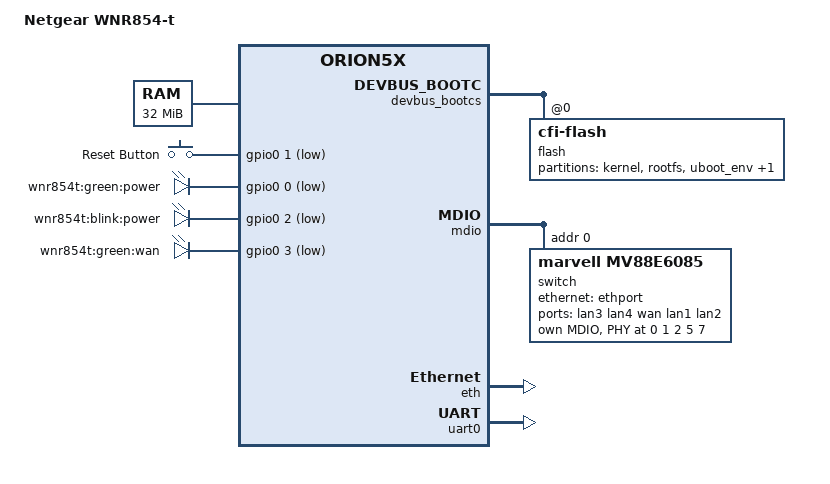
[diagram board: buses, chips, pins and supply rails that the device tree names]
// SPDX-License-Identifier: GPL-2.0-only
// Copyright (C) 2016 Jamie Lentin <jm@lentin.co.uk>

/dts-v1/;

#include <dt-bindings/gpio/gpio.h>
#include <dt-bindings/input/input.h>
#include "orion5x-mv88f5181.dtsi"

/ {
	model = "Netgear WNR854-t";
	compatible = "netgear,wnr854t", "marvell,orion5x-88f5181",
		     "marvell,orion5x";
	aliases {
		serial0 = &uart0;
	};

	memory {
		device_type = "memory";
		reg = <0x00000000 0x2000000>; /* 32 MB */
	};

	chosen {
		stdout-path = "serial0:115200n8";
	};

	soc {
		ranges = <MBUS_ID(0xf0, 0x01) 0 0xf1000000 0x100000>,
			 <MBUS_ID(0x09, 0x00) 0 0xf2200000 0x800>,
			 <MBUS_ID(0x01, 0x0f) 0 0xf4000000 0x800000>;
	};

	gpio-keys {
		compatible = "gpio-keys";
		pinctrl-0 = <&pmx_reset_button>;
		pinctrl-names = "default";

		reset {
			label = "Reset Button";
			linux,code = <KEY_RESTART>;
			gpios = <&gpio0 1 GPIO_ACTIVE_LOW>;
		};
	};

	gpio-leds {
		compatible = "gpio-leds";
		pinctrl-0 = <&pmx_power_led &pmx_power_led_blink &pmx_wan_led>;
		pinctrl-names = "default";

		led@0 {
			label = "wnr854t:green:power";
			gpios = <&gpio0 0 GPIO_ACTIVE_LOW>;
		};

		led@1 {
			label = "wnr854t:blink:power";
			gpios = <&gpio0 2 GPIO_ACTIVE_LOW>;
		};

		led@2 {
			label = "wnr854t:green:wan";
			gpios = <&gpio0 3 GPIO_ACTIVE_LOW>;
		};
	};
};

&devbus_bootcs {
	status = "okay";

	devbus,keep-config;

	flash@0 {
		compatible = "cfi-flash";
		reg = <0 0x800000>;
		bank-width = <2>;

		partitions {
			compatible = "fixed-partitions";
			#address-cells = <1>;
			#size-cells = <1>;

			partition@0 {
				label = "kernel";
				reg = <0x0 0x100000>;
			};

			partition@100000 {
				label = "rootfs";
				reg = <0x100000 0x660000>;
			};

			partition@760000 {
				label = "uboot_env";
				reg = <0x760000 0x20000>;
			};

			partition@780000 {
				label = "uboot";
				reg = <0x780000 0x80000>;
				read-only;
			};
		};
	};
};

&mdio {
	status = "okay";

	switch: switch@0 {
		compatible = "marvell,mv88e6085";
		#address-cells = <1>;
		#size-cells = <0>;
		reg = <0>;
		dsa,member = <0 0>;

		ports {
			#address-cells = <1>;
			#size-cells = <0>;

			port@0 {
				reg = <0>;
				label = "lan3";
				phy-handle = <&lan3phy>;
			};

			port@1 {
				reg = <1>;
				label = "lan4";
				phy-handle = <&lan4phy>;
			};

			port@2 {
				reg = <2>;
				label = "wan";
				phy-handle = <&wanphy>;
			};

			port@3 {
				reg = <3>;
				ethernet = <&ethport>;
				phy-mode = "rgmii-id";
				fixed-link {
					speed = <1000>;
					full-duplex;
				};
			};

			port@5 {
				reg = <5>;
				label = "lan1";
				phy-handle = <&lan1phy>;
			};

			port@7 {
				reg = <7>;
				label = "lan2";
				phy-handle = <&lan2phy>;
			};
		};

		mdio {
			#address-cells = <1>;
			#size-cells = <0>;

			lan3phy: ethernet-phy@0 {
				/* Marvell 88E1121R (port 1) */
				compatible = "ethernet-phy-id0141.0cb0",
					     "ethernet-phy-ieee802.3-c22";
				reg = <0>;
				marvell,reg-init = <3 16 0 0x1777 3 17 0 0x15>;
			};

			lan4phy: ethernet-phy@1 {
				/* Marvell 88E1121R (port 2) */
				compatible = "ethernet-phy-id0141.0cb0",
					     "ethernet-phy-ieee802.3-c22";
				reg = <1>;
				marvell,reg-init = <3 16 0 0x1777 3 17 0 0x15>;
			};

			wanphy: ethernet-phy@2 {
				/* Marvell 88E1121R (port 1) */
				compatible = "ethernet-phy-id0141.0cb0",
					     "ethernet-phy-ieee802.3-c22";
				reg = <2>;
				marvell,reg-init = <3 16 0 0x1777 3 17 0 0x15>;
			};

			lan1phy: ethernet-phy@5 {
				/* Marvell 88E1112 */
				compatible = "ethernet-phy-id0141.0cb0",
					     "ethernet-phy-ieee802.3-c22";
				reg = <5>;
				marvell,reg-init = <3 16 0 0x1777 3 17 0 0x15>;
			};

			lan2phy: ethernet-phy@7 {
				/* Marvell 88E1112 */
				compatible = "ethernet-phy-id0141.0cb0",
					     "ethernet-phy-ieee802.3-c22";
				reg = <7>;
				marvell,reg-init = <3 16 0 0x1777 3 17 0 0x15>;
			};
		};
	};
};

&eth {
	status = "okay";

	ethernet-port@0 {
		/* Hardwired to DSA switch */
		speed = <1000>;
		duplex = <1>;
		phy-mode = "rgmii";
	};
};

&pinctrl {
	pinctrl-0 = <&pmx_pci_gpios>;
	pinctrl-names = "default";

	pmx_power_led: pmx-power-led {
		marvell,pins = "mpp0";
		marvell,function = "gpio";
	};

	pmx_reset_button: pmx-reset-button {
		marvell,pins = "mpp1";
		marvell,function = "gpio";
	};

	pmx_power_led_blink: pmx-power-led-blink {
		marvell,pins = "mpp2";
		marvell,function = "gpio";
	};

	pmx_wan_led: pmx-wan-led {
		marvell,pins = "mpp3";
		marvell,function = "gpio";
	};

	pmx_pci_gpios: pmx-pci-gpios {
		marvell,pins = "mpp4";
		marvell,function = "gpio";
	};
};

&uart0 {
	/* Pin 1: Tx, Pin 7: Rx, Pin 8: Gnd */
	status = "okay";
};
